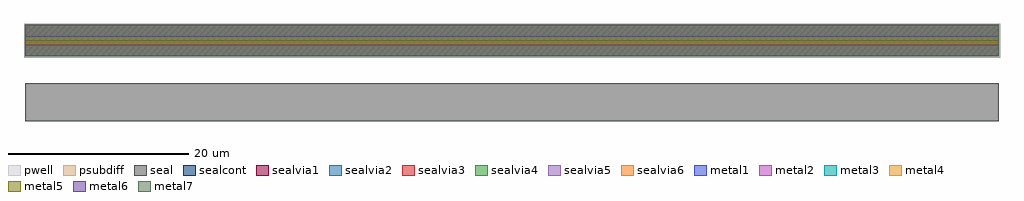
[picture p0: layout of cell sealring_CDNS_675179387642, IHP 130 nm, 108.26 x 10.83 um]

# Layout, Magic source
magic
tech ihp-sg13g2
<< pwell >>
rect -13 -13 10813 363
<< sealcont >>
rect 0 130 10800 146
<< psubdiff >>
rect 0 146 10800 350
rect 0 0 10800 130
<< metal1 >>
rect 0 149 10800 350
rect 0 0 10800 130
<< sealvia1 >>
rect 0 130 10800 149
<< metal2 >>
rect 0 149 10800 350
rect 0 0 10800 130
<< sealvia2 >>
rect 0 130 10800 149
<< metal3 >>
rect 0 149 10800 350
rect 0 0 10800 130
<< sealvia3 >>
rect 0 130 10800 149
<< metal4 >>
rect 0 149 10800 350
rect 0 0 10800 130
<< sealvia4 >>
rect 0 130 10800 149
<< metal5 >>
rect 0 172 10800 350
rect 0 0 10800 130
<< sealvia5 >>
rect 0 130 10800 172
<< metal6 >>
rect 0 220 10800 350
rect 0 0 10800 130
<< sealvia6 >>
rect 0 130 10800 220
<< metal7 >>
rect 0 0 10800 350
<< seal >>
rect 0 -720 10800 -300
<< end >>
